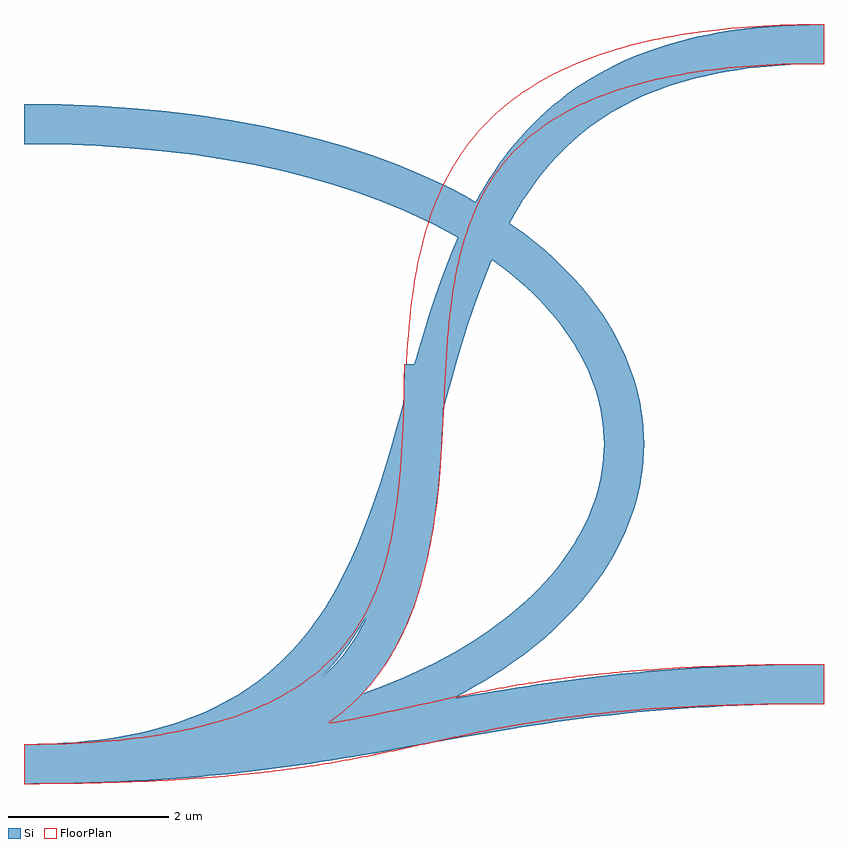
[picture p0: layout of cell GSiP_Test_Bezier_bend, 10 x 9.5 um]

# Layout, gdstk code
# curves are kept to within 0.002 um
import gdstk
lib = gdstk.Library(unit=1e-6, precision=1e-09)
def P(c, l, *ps):  # polygons
    for p in ps: c.add(gdstk.Polygon(p, *l))
Si = (1, 0)
FloorPlan = (99, 0)

gsip_test_bezier_bend = lib.new_cell('GSiP_Test_Bezier_bend')
P(gsip_test_bezier_bend, Si, [(0,-0.25),(0,0.25),(0.455,0.256),(0.895,0.273),(1.321,0.3),(1.731,0.338),(2.127,0.387),(2.508,0.444),(2.873,0.511),(3.224,0.587),(3.561,0.672),(3.882,0.764),(4.188,0.864),(4.48,0.971),(4.756,1.085),(5.02,1.207),(5.264,1.332),(5.496,1.464),(5.607,1.532),(5.817,1.672),(6.011,1.816),(6.192,1.964),(6.357,2.116),(6.435,2.193),(6.508,2.271),(6.645,2.429),(6.767,2.589),(6.876,2.751),(6.97,2.915),(7.05,3.08),(7.085,3.163),(7.145,3.33),(7.191,3.497),(7.224,3.664),(7.243,3.832),(7.25,4),(7.243,4.168),(7.224,4.336),(7.191,4.503),(7.145,4.67),(7.085,4.837),(7.05,4.92),(6.97,5.085),(6.876,5.249),(6.767,5.411),(6.645,5.571),(6.508,5.729),(6.435,5.807),(6.357,5.884),(6.192,6.036),(6.011,6.184),(5.817,6.328),(5.607,6.468),(5.496,6.536),(5.264,6.668),(5.02,6.793),(4.756,6.915),(4.48,7.029),(4.188,7.136),(3.882,7.236),(3.561,7.328),(3.224,7.413),(2.873,7.489),(2.508,7.556),(2.127,7.613),(1.731,7.662),(1.321,7.7),(0.895,7.727),(0.455,7.744),(0,7.75),(0,8.25),(0.468,8.244),(0.921,8.227),(1.36,8.198),(1.784,8.159),(2.194,8.109),(2.59,8.049),(2.971,7.979),(3.338,7.9),(3.69,7.811),(4.028,7.714),(4.352,7.608),(4.661,7.495),(4.956,7.373),(5.234,7.245),(5.371,7.177),(5.63,7.037),(5.754,6.964),(5.991,6.815),(6.213,6.659),(6.319,6.578),(6.421,6.497),(6.614,6.329),(6.793,6.156),(6.877,6.067),(6.957,5.978),(7.033,5.887),(7.174,5.702),(7.239,5.607),(7.358,5.416),(7.411,5.319),(7.461,5.221),(7.549,5.023),(7.587,4.923),(7.621,4.822),(7.651,4.72),(7.7,4.516),(7.718,4.413),(7.732,4.31),(7.748,4.104),(7.748,3.896),(7.742,3.793),(7.732,3.69),(7.7,3.484),(7.651,3.28),(7.621,3.178),(7.587,3.077),(7.549,2.977),(7.461,2.779),(7.411,2.681),(7.358,2.584),(7.239,2.393),(7.174,2.298),(7.033,2.113),(6.957,2.022),(6.793,1.844),(6.614,1.671),(6.421,1.503),(6.213,1.341),(6.104,1.263),(5.991,1.185),(5.754,1.036),(5.502,0.892),(5.234,0.755),(4.956,0.627),(4.661,0.505),(4.352,0.392),(4.028,0.286),(3.69,0.189),(3.338,0.1),(2.971,0.021),(2.59,-0.049),(2.194,-0.109),(1.784,-0.159),(1.36,-0.198),(0.921,-0.227),(0.468,-0.244)],
  [(0,-0.25),(0,0.25),(0.363,0.253),(0.706,0.262),(1.033,0.278),(1.342,0.3),(1.634,0.329),(1.909,0.366),(2.168,0.41),(2.411,0.462),(2.638,0.522),(2.849,0.59),(3.045,0.666),(3.227,0.75),(3.395,0.843),(3.549,0.945),(3.622,0.999),(3.692,1.056),(3.759,1.115),(3.823,1.177),(3.885,1.241),(3.944,1.308),(4.001,1.378),(4.055,1.451),(4.157,1.605),(4.25,1.773),(4.334,1.955),(4.41,2.151),(4.478,2.362),(4.538,2.589),(4.59,2.832),(4.634,3.091),(4.671,3.366),(4.7,3.658),(4.722,3.967),(4.738,4.294),(4.747,4.637),(4.75,5),(5.25,5),(5.247,4.631),(5.238,4.276),(5.222,3.938),(5.184,3.46),(5.149,3.16),(5.106,2.875),(5.054,2.604),(4.993,2.346),(4.921,2.102),(4.882,1.985),(4.839,1.87),(4.794,1.759),(4.746,1.652),(4.696,1.547),(4.642,1.445),(4.585,1.347),(4.525,1.252),(4.462,1.16),(4.326,0.985),(4.177,0.823),(4.015,0.674),(3.84,0.538),(3.748,0.475),(3.653,0.415),(3.555,0.358),(3.453,0.304),(3.348,0.254),(3.241,0.206),(3.13,0.161),(3.015,0.118),(2.898,0.079),(2.654,0.007),(2.396,-0.054),(2.125,-0.106),(1.84,-0.149),(1.54,-0.184),(1.062,-0.222),(0.724,-0.238),(0.369,-0.247)],
  [(0,-0.25),(0,0.25),(0.333,0.256),(0.647,0.275),(0.944,0.306),(1.223,0.347),(1.485,0.4),(1.611,0.43),(1.732,0.463),(1.85,0.498),(1.963,0.536),(2.18,0.618),(2.383,0.709),(2.573,0.808),(2.663,0.861),(2.835,0.973),(2.995,1.092),(3.145,1.219),(3.286,1.352),(3.353,1.422),(3.48,1.566),(3.599,1.717),(3.656,1.795),(3.764,1.956),(3.815,2.038),(3.912,2.206),(4.005,2.383),(4.091,2.564),(4.173,2.749),(4.249,2.938),(4.322,3.132),(4.391,3.329),(4.52,3.734),(4.582,3.939),(4.938,5.201),(5.067,5.622),(5.135,5.831),(5.208,6.038),(5.285,6.243),(5.367,6.445),(5.454,6.645),(5.548,6.841),(5.702,7.128),(5.815,7.313),(5.936,7.494),(6.067,7.669),(6.136,7.754),(6.282,7.919),(6.438,8.077),(6.521,8.154),(6.694,8.3),(6.88,8.438),(7.078,8.567),(7.289,8.685),(7.399,8.741),(7.512,8.794),(7.749,8.892),(8,8.979),(8.131,9.018),(8.404,9.088),(8.691,9.145),(8.994,9.191),(9.151,9.209),(9.478,9.235),(9.648,9.243),(10,9.25),(10,8.75),(9.667,8.744),(9.353,8.725),(9.056,8.694),(8.777,8.653),(8.515,8.6),(8.389,8.57),(8.268,8.537),(8.15,8.502),(8.037,8.464),(7.82,8.382),(7.617,8.291),(7.427,8.192),(7.337,8.139),(7.165,8.027),(7.005,7.908),(6.855,7.781),(6.714,7.648),(6.647,7.578),(6.52,7.434),(6.401,7.283),(6.344,7.205),(6.236,7.044),(6.185,6.962),(6.088,6.794),(5.995,6.617),(5.909,6.436),(5.827,6.251),(5.751,6.062),(5.678,5.868),(5.609,5.671),(5.48,5.266),(5.418,5.061),(5.062,3.799),(4.933,3.378),(4.865,3.169),(4.792,2.962),(4.715,2.757),(4.633,2.555),(4.546,2.355),(4.452,2.159),(4.298,1.872),(4.185,1.687),(4.064,1.506),(3.933,1.331),(3.864,1.246),(3.718,1.081),(3.562,0.923),(3.479,0.846),(3.306,0.7),(3.12,0.562),(2.922,0.433),(2.711,0.315),(2.601,0.259),(2.488,0.206),(2.251,0.108),(2,0.021),(1.869,-0.018),(1.596,-0.088),(1.309,-0.145),(1.006,-0.191),(0.849,-0.209),(0.522,-0.235),(0.352,-0.243)],
  [(0,-0.25),(0,0.25),(0.507,0.254),(0.797,0.261),(1.168,0.274),(1.609,0.298),(1.944,0.321),(2.265,0.348),(2.498,0.371),(2.945,0.422),(3.372,0.479),(3.915,0.563),(4.439,0.653),(5.605,0.863),(6.278,0.974),(6.7,1.036),(6.993,1.074),(7.608,1.142),(8.102,1.184),(8.448,1.207),(8.718,1.221),(9.092,1.236),(9.384,1.244),(10,1.25),(10,0.75),(9.493,0.746),(9.203,0.739),(8.832,0.726),(8.391,0.702),(8.056,0.679),(7.735,0.652),(7.502,0.629),(7.055,0.578),(6.628,0.521),(6.085,0.437),(5.561,0.347),(4.395,0.137),(3.722,0.026),(3.3,-0.036),(3.007,-0.074),(2.392,-0.142),(1.898,-0.184),(1.552,-0.207),(1.282,-0.221),(0.908,-0.236),(0.616,-0.244)])
P(gsip_test_bezier_bend, FloorPlan, [(0,-0.25),(0,0.25),(0.217,0.251),(0.631,0.259),(1.021,0.277),(1.206,0.288),(1.385,0.303),(1.728,0.34),(1.889,0.362),(2.196,0.415),(2.341,0.445),(2.479,0.478),(2.612,0.514),(2.864,0.594),(3.093,0.686),(3.303,0.79),(3.493,0.906),(3.582,0.969),(3.667,1.034),(3.746,1.103),(3.823,1.177),(3.896,1.253),(3.965,1.332),(4.03,1.417),(4.093,1.506),(4.209,1.696),(4.313,1.906),(4.405,2.135),(4.485,2.387),(4.521,2.52),(4.554,2.658),(4.584,2.803),(4.637,3.11),(4.659,3.271),(4.696,3.614),(4.711,3.793),(4.722,3.978),(4.74,4.368),(4.75,5),(5.25,5),(5.24,4.352),(5.222,3.95),(5.194,3.568),(5.176,3.386),(5.131,3.036),(5.074,2.707),(5.042,2.55),(5.005,2.396),(4.922,2.106),(4.875,1.967),(4.824,1.832),(4.769,1.702),(4.71,1.577),(4.647,1.456),(4.58,1.339),(4.509,1.228),(4.432,1.119),(4.351,1.016),(4.266,0.917),(4.177,0.823),(4.082,0.733),(3.983,0.648),(3.88,0.567),(3.771,0.49),(3.66,0.419),(3.543,0.352),(3.422,0.289),(3.297,0.23),(3.167,0.175),(3.032,0.124),(2.893,0.077),(2.603,-0.006),(2.449,-0.043),(2.292,-0.075),(1.963,-0.132),(1.613,-0.177),(1.431,-0.195),(1.049,-0.223),(0.647,-0.241),(0.437,-0.246)],
  [(0,-0.25),(0,0.25),(0.427,0.256),(0.73,0.269),(1.11,0.297),(1.378,0.326),(1.713,0.374),(2.024,0.432),(2.311,0.501),(2.576,0.579),(2.819,0.667),(2.932,0.713),(3.041,0.762),(3.243,0.866),(3.337,0.92),(3.47,1.005),(3.632,1.125),(3.707,1.187),(3.812,1.283),(3.878,1.349),(3.97,1.451),(4.081,1.593),(4.157,1.703),(4.248,1.856),(4.329,2.015),(4.4,2.179),(4.462,2.35),(4.503,2.482),(4.551,2.662),(4.601,2.894),(4.648,3.182),(4.693,3.58),(4.723,3.989),(4.778,5.042),(4.8,5.36),(4.831,5.677),(4.857,5.887),(4.908,6.199),(4.951,6.405),(5.003,6.608),(5.064,6.808),(5.135,7.005),(5.175,7.102),(5.241,7.245),(5.34,7.432),(5.453,7.613),(5.58,7.788),(5.649,7.872),(5.723,7.955),(5.8,8.036),(5.881,8.115),(5.967,8.192),(6.103,8.303),(6.249,8.408),(6.459,8.54),(6.628,8.632),(6.87,8.746),(7.064,8.824),(7.269,8.896),(7.56,8.982),(7.713,9.021),(7.872,9.057),(8.12,9.105),(8.47,9.159),(8.654,9.181),(8.844,9.201),(9.242,9.23),(9.451,9.24),(9.666,9.246),(10,9.25),(10,8.75),(9.573,8.744),(9.27,8.731),(8.89,8.703),(8.622,8.674),(8.287,8.626),(7.976,8.568),(7.689,8.499),(7.424,8.421),(7.181,8.333),(7.068,8.287),(6.959,8.238),(6.757,8.134),(6.663,8.08),(6.53,7.995),(6.368,7.875),(6.293,7.813),(6.188,7.717),(6.122,7.651),(6.03,7.549),(5.919,7.407),(5.843,7.297),(5.752,7.144),(5.671,6.985),(5.6,6.821),(5.538,6.65),(5.497,6.518),(5.449,6.338),(5.399,6.106),(5.352,5.818),(5.307,5.42),(5.277,5.011),(5.222,3.958),(5.2,3.64),(5.169,3.323),(5.143,3.113),(5.092,2.801),(5.049,2.595),(4.997,2.392),(4.936,2.192),(4.865,1.995),(4.825,1.898),(4.759,1.755),(4.66,1.568),(4.547,1.387),(4.42,1.212),(4.351,1.128),(4.277,1.045),(4.2,0.964),(4.119,0.885),(4.033,0.808),(3.897,0.697),(3.751,0.592),(3.541,0.46),(3.372,0.368),(3.13,0.254),(2.936,0.176),(2.731,0.104),(2.44,0.018),(2.287,-0.021),(2.128,-0.057),(1.88,-0.105),(1.53,-0.159),(1.346,-0.181),(1.156,-0.201),(0.758,-0.23),(0.549,-0.24),(0.334,-0.246)],
  [(0,-0.25),(0,0.25),(0.784,0.257),(1.168,0.267),(1.626,0.285),(1.955,0.303),(2.39,0.334),(2.71,0.363),(3.079,0.404),(3.483,0.459),(3.793,0.509),(4.027,0.551),(4.523,0.651),(5.482,0.861),(5.764,0.918),(6.123,0.984),(6.612,1.06),(6.934,1.101),(7.24,1.134),(7.786,1.181),(8.061,1.199),(8.45,1.219),(8.816,1.233),(9.264,1.244),(10,1.25),(10,0.75),(9.216,0.743),(8.832,0.733),(8.374,0.715),(8.045,0.697),(7.61,0.666),(7.29,0.637),(6.921,0.596),(6.517,0.541),(6.207,0.491),(5.973,0.449),(5.477,0.349),(4.518,0.139),(4.236,0.082),(3.877,0.016),(3.388,-0.06),(3.066,-0.101),(2.76,-0.134),(2.214,-0.181),(1.939,-0.199),(1.55,-0.219),(1.184,-0.233),(0.736,-0.244)])

lib.write_gds('GSiP_Test_Bezier_bend.gds')
